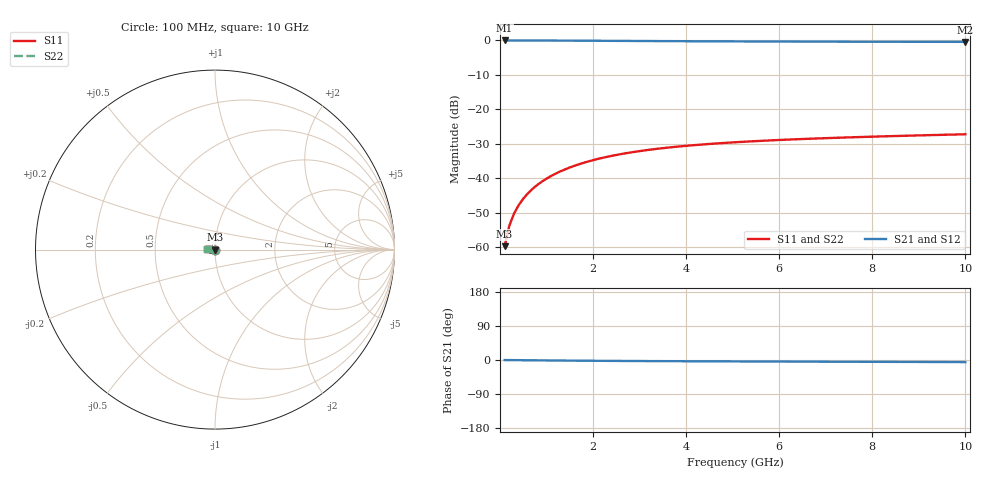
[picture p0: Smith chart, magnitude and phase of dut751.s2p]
! Touchstone file exported from HFSS 2024.1.0
!  File:  C:/UserFiles/LocalFiles/RDL_TSV_Batchsim/temp_TSV1_751_1779871370.aedt
!  Generated:  04:47:56 PM May 27, 2026
!  Design:  TSV1
!  Project:  temp_TSV1_751_1779871370
!  Setup:  Setup1
!  Solution:  Sweep
! Variables:
!  dtsv = 7.76um
!  hbump = 3um
!  htsv = 86.68um
!  lrdl = 252.1521522um
!  p = 40
!  p1 = 43.88um
!  t = 500um
!  trdl = 3um
!  wrdl = 24.89489489um
# GHz S MA R 50.000000
! Terminal data exported
! Port[1] = TSV22_T1
! Port[2] = TSV22_T2
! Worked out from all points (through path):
!   100 points, 100 MHz to 10 GHz, reference 50 ohm
!   highest |S21| = 0.00 dB at 100 MHz (marker M1); lowest = -0.4 dB at 10 GHz (marker M2)
!   lowest |S11| = -59.7 dB at 100 MHz (marker M3), VSWR 1.00, Z = 50 - j0.101 ohm
!   |S11| at or under -10 dB: start of sweep to end of sweep
!   |S22| runs from -59.7 to -27.2 dB; largest |S21 - S12| = 3.7e-15
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0.1  0.001036 -77.5  0.9997 -0.1  0.9997 -0.1  0.001036 -77.5
! Gamma 0 0 0 0
! Port Impedance 50 0 50 0
0.2  0.002038 -86.0  0.9996 -0.2  0.9996 -0.2  0.002038 -86.0
0.3  0.003048 -90.1  0.9994 -0.4  0.9994 -0.4  0.003048 -90.1
0.4  0.004053 -93.1  0.9992 -0.5  0.9992 -0.5  0.004053 -93.1
0.5  0.005052 -95.5  0.9989 -0.6  0.9989 -0.6  0.005052 -95.5
0.6  0.006043 -97.7  0.9986 -0.7  0.9986 -0.7  0.006043 -97.7
0.7  0.007023 -99.7  0.9982 -0.8  0.9982 -0.8  0.007023 -99.7
0.8  0.007992 -101.6  0.9978 -0.9  0.9978 -0.9  0.007992 -101.6
0.9  0.008948 -103.5  0.9973 -1.0  0.9973 -1.0  0.008948 -103.5
1.1  0.01081 -107.0  0.9962 -1.2  0.9962 -1.2  0.01081 -107.0
1.4  0.01349 -112.1  0.9943 -1.5  0.9943 -1.5  0.01349 -112.1
1.6  0.01518 -115.3  0.9929 -1.7  0.9929 -1.7  0.01518 -115.3
1.8  0.01679 -118.4  0.9914 -1.9  0.9914 -1.9  0.01679 -118.4
2.1  0.01906 -122.8  0.989 -2.1  0.989 -2.1  0.01906 -122.8
2.5  0.0218 -128.3  0.9858 -2.4  0.9858 -2.4  0.0218 -128.3
2.9  0.02423 -133.4  0.9827 -2.7  0.9827 -2.7  0.02423 -133.4
3.4  0.02689 -139.3  0.9789 -3.0  0.9789 -3.0  0.02689 -139.3
4.2  0.03038 -147.6  0.9735 -3.4  0.9735 -3.4  0.03038 -147.6
5.1  0.03347 -155.7  0.9685 -3.7  0.9685 -3.7  0.03347 -155.7
6.7  0.03758 -167.6  0.9618 -4.3  0.9618 -4.3  0.03758 -167.6
8.4  0.04089 -177.7  0.957 -4.9  0.957 -4.9  0.04089 -177.7
10  0.04352 174.2  0.9539 -5.5  0.9539 -5.5  0.04352 174.2
